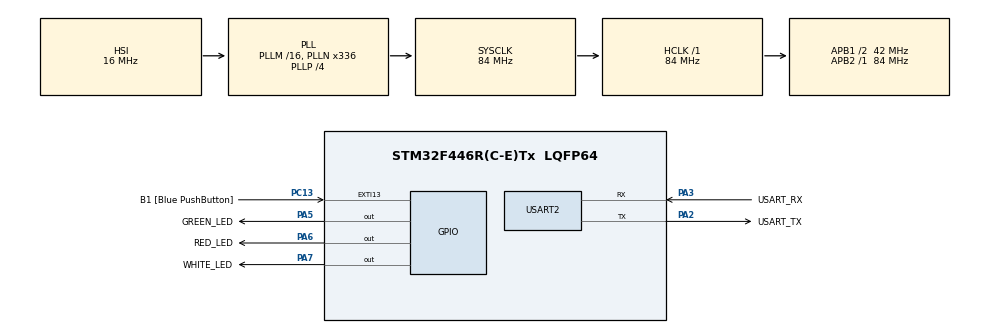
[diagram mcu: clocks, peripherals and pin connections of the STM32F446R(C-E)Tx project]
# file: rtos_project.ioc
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Mcu.Family=STM32F4
Mcu.Name=STM32F446R(C-E)Tx
Mcu.Package=LQFP64
NVIC.PriorityGroup=NVIC_PRIORITYGROUP_4
NVIC.TIM6_DAC_IRQn=true\:0\:0\:false\:false\:true\:false\:true\:true
NVIC.TimeBase=TIM6_DAC_IRQn
NVIC.TimeBaseIP=TIM6
PA13.GPIO_Label=TMS
PA13.Mode=Serial_Wire
PA13.Signal=SYS_JTMS-SWDIO
PA14.GPIO_Label=TCK
PA14.Mode=Serial_Wire
PA14.Signal=SYS_JTCK-SWCLK
PA2.GPIO_Label=USART_TX
PA2.Mode=Asynchronous
PA2.Signal=USART2_TX
PA3.GPIO_Label=USART_RX
PA3.Mode=Asynchronous
PA3.Signal=USART2_RX
PA5.GPIO_Label=GREEN_LED
PA5.Signal=GPIO_Output
PA6.GPIO_Label=RED_LED
PA6.Signal=GPIO_Output
PA7.GPIO_Label=WHITE_LED
PA7.Signal=GPIO_Output
PB3.GPIO_Label=SWO
PB3.Signal=SYS_JTDO-SWO
PC13.GPIO_Label=B1 [Blue PushButton]
PC13.GPIO_ModeDefaultEXTI=GPIO_MODE_IT_FALLING
PC13.Signal=GPXTI13
PC14-OSC32_IN.Mode=LSE-External-Oscillator
PC14-OSC32_IN.Signal=RCC_OSC32_IN
PC15-OSC32_OUT.Mode=LSE-External-Oscillator
PC15-OSC32_OUT.Signal=RCC_OSC32_OUT
PH0-OSC_IN.Mode=HSE-External-Oscillator
PH0-OSC_IN.Signal=RCC_OSC_IN
PH1-OSC_OUT.Mode=HSE-External-Oscillator
PH1-OSC_OUT.Signal=RCC_OSC_OUT
ProjectManager.HeapSize=0x200
ProjectManager.StackSize=0x400
ProjectManager.TargetToolchain=STM32CubeIDE
RCC.48MHZClocksFreq_Value=84000000
RCC.AHBFreq_Value=84000000
RCC.APB1CLKDivider=RCC_HCLK_DIV2
RCC.APB1Freq_Value=42000000
RCC.APB1TimFreq_Value=84000000
RCC.APB2Freq_Value=84000000
RCC.APB2TimFreq_Value=84000000
RCC.CortexFreq_Value=84000000
RCC.FLatency-AdvancedSettings=FLASH_LATENCY_2
RCC.HCLKFreq_Value=84000000
RCC.HSE_VALUE=8000000
RCC.HSI_VALUE=16000000
RCC.PLLN=336
RCC.PLLP=RCC_PLLP_DIV4
RCC.SYSCLKFreq_VALUE=84000000
RCC.SYSCLKSource=RCC_SYSCLKSOURCE_PLLCLK
RCC.USBFreq_Value=168000000
RCC.VCOOutputFreq_Value=336000000
USART2.VirtualMode=VM_ASYNC
VP_SYS_VS_tim6.Mode=TIM6
board=NUCLEO-F446RE

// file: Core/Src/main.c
/* USER CODE BEGIN Header */
/**
  ******************************************************************************
  * @file           : main.c
  * @brief          : Main program body
  ******************************************************************************
  * @attention
  *
  * Copyright (c) 2026 STMicroelectronics.
  * All rights reserved.
  *
  * This software is licensed under terms that can be found in the LICENSE file
  * in the root directory of this software component.
  * If no LICENSE file comes with this software, it is provided AS-IS.
  *
  ******************************************************************************
  */
/* USER CODE END Header */
#include "main.h"

/* USER CODE BEGIN Includes */
#include <stdio.h>
#include "FreeRTOS.h"
#include "task.h"
/* USER CODE END Includes */

UART_HandleTypeDef huart2;

void SystemClock_Config(void);
static void MX_GPIO_Init(void);
static void MX_USART2_UART_Init(void);
/* USER CODE BEGIN PFP */
//static void task1_handler( void * pvParameters);
//static void task2_handler( void * pvParameters);

//LED
static void led_green_handler( void * pvParameters);
static void led_red_handler( void * pvParameters);
static void led_white_handler( void * pvParameters);

/* USER CODE END PFP */

int main(void)
{

  /* USER CODE BEGIN 1 */

	TaskHandle_t task1_handle;
	TaskHandle_t task2_handle;
	TaskHandle_t task3_handle;

	BaseType_t xReturned;

  /* USER CODE END 1 */

  /* MCU Configuration--------------------------------------------------------*/

  /* Reset of all peripherals, Initializes the Flash interface and the Systick. */
  HAL_Init();

  /* Configure the system clock */
  SystemClock_Config();

  /* Initialize all configured peripherals */
  MX_GPIO_Init();
  MX_USART2_UART_Init();
  /* USER CODE BEGIN 2 */
  xReturned = xTaskCreate(
		  	  	  	  led_green_handler,       /* Function that implements the task. */
                     "GREEN LED TASK",          /* Text name for the task. */
                     100,      /* Stack size in words, not bytes. */
                     "NULL",    /* Parameter passed into the task. */
                     2,/* Priority at which the task is created. */
                     &task1_handle );      /* Used to pass out the created task's handle. */

configASSERT(xReturned == pdPASS);

xReturned = xTaskCreate(
					led_red_handler,       /* Function that implements the task. */
                   "RED LED TASK",          /* Text name for the task. */
                   100,      /* Stack size in words, not bytes. */
                   "NULL",    /* Parameter passed into the task. */
                   2,/* Priority at which the task is created. */
                   &task2_handle );      /* Used to pass out the created task's handle. */

configASSERT(xReturned == pdPASS);

xReturned = xTaskCreate(
					led_white_handler,       /* Function that implements the task. */
                   "WHITE LED TASK",          /* Text name for the task. */
                   100,      /* Stack size in words, not bytes. */
                   "NULL",    /* Parameter passed into the task. */
                   2,/* Priority at which the task is created. */
                   &task3_handle );      /* Used to pass out the created task's handle. */

configASSERT(xReturned == pdPASS);

vTaskStartScheduler();

  /* USER CODE END 2 */

  /* Infinite loop */
  while (1)
  {

  }
}

void SystemClock_Config(void)
{
  RCC_OscInitTypeDef RCC_OscInitStruct = {0};
  RCC_ClkInitTypeDef RCC_ClkInitStruct = {0};

  /** Configure the main internal regulator output voltage
  */
  __HAL_RCC_PWR_CLK_ENABLE();
  __HAL_PWR_VOLTAGESCALING_CONFIG(PWR_REGULATOR_VOLTAGE_SCALE3);

  /** Initializes the RCC Oscillators according to the specified parameters
  * in the RCC_OscInitTypeDef structure.
  */
  RCC_OscInitStruct.OscillatorType = RCC_OSCILLATORTYPE_HSI;
  RCC_OscInitStruct.HSIState = RCC_HSI_ON;
  RCC_OscInitStruct.HSICalibrationValue = RCC_HSICALIBRATION_DEFAULT;
  RCC_OscInitStruct.PLL.PLLState = RCC_PLL_ON;
  RCC_OscInitStruct.PLL.PLLSource = RCC_PLLSOURCE_HSI;
  RCC_OscInitStruct.PLL.PLLM = 16;
  RCC_OscInitStruct.PLL.PLLN = 336;
  RCC_OscInitStruct.PLL.PLLP = RCC_PLLP_DIV4;
  RCC_OscInitStruct.PLL.PLLQ = 2;
  RCC_OscInitStruct.PLL.PLLR = 2;
  if (HAL_RCC_OscConfig(&RCC_OscInitStruct) != HAL_OK)
  {
    Error_Handler();
  }

  /** Initializes the CPU, AHB and APB buses clocks
  */
  RCC_ClkInitStruct.ClockType = RCC_CLOCKTYPE_HCLK|RCC_CLOCKTYPE_SYSCLK
                              |RCC_CLOCKTYPE_PCLK1|RCC_CLOCKTYPE_PCLK2;
  RCC_ClkInitStruct.SYSCLKSource = RCC_SYSCLKSOURCE_PLLCLK;
  RCC_ClkInitStruct.AHBCLKDivider = RCC_SYSCLK_DIV1;
  RCC_ClkInitStruct.APB1CLKDivider = RCC_HCLK_DIV2;
  RCC_ClkInitStruct.APB2CLKDivider = RCC_HCLK_DIV1;

  if (HAL_RCC_ClockConfig(&RCC_ClkInitStruct, FLASH_LATENCY_2) != HAL_OK)
  {
    Error_Handler();
  }
}

static void MX_USART2_UART_Init(void)
{

  huart2.Instance = USART2;
  huart2.Init.BaudRate = 115200;
  huart2.Init.WordLength = UART_WORDLENGTH_8B;
  huart2.Init.StopBits = UART_STOPBITS_1;
  huart2.Init.Parity = UART_PARITY_NONE;
  huart2.Init.Mode = UART_MODE_TX_RX;
  huart2.Init.HwFlowCtl = UART_HWCONTROL_NONE;
  huart2.Init.OverSampling = UART_OVERSAMPLING_16;
  if (HAL_UART_Init(&huart2) != HAL_OK)
  {
    Error_Handler();
  }

}

static void MX_GPIO_Init(void)
{
  GPIO_InitTypeDef GPIO_InitStruct = {0};

  /* GPIO Ports Clock Enable */
  __HAL_RCC_GPIOC_CLK_ENABLE();
  __HAL_RCC_GPIOH_CLK_ENABLE();
  __HAL_RCC_GPIOA_CLK_ENABLE();
  __HAL_RCC_GPIOB_CLK_ENABLE();

  /*Configure GPIO pin Output Level */
  HAL_GPIO_WritePin(GPIOA, GREEN_LED_Pin|RED_LED_Pin|WHITE_LED_Pin, GPIO_PIN_RESET);

  /*Configure GPIO pin : B1_Pin */
  GPIO_InitStruct.Pin = B1_Pin;
  GPIO_InitStruct.Mode = GPIO_MODE_IT_FALLING;
  GPIO_InitStruct.Pull = GPIO_NOPULL;
  HAL_GPIO_Init(B1_GPIO_Port, &GPIO_InitStruct);

  /*Configure GPIO pins : GREEN_LED_Pin RED_LED_Pin WHITE_LED_Pin */
  GPIO_InitStruct.Pin = GREEN_LED_Pin|RED_LED_Pin|WHITE_LED_Pin;
  GPIO_InitStruct.Mode = GPIO_MODE_OUTPUT_PP;
  GPIO_InitStruct.Pull = GPIO_NOPULL;
  GPIO_InitStruct.Speed = GPIO_SPEED_FREQ_LOW;
  HAL_GPIO_Init(GPIOA, &GPIO_InitStruct);

}

/* USER CODE BEGIN 4 */
static void led_green_handler( void * pvParameters)
{
	while(1)
	{
	printf("task1\n");
	HAL_GPIO_TogglePin(GREEN_LED_GPIO_Port, GREEN_LED_Pin);
	HAL_Delay(1000);
	taskYIELD();
	}
}

static void led_red_handler( void * pvParameters)
{
	while(1)
	{
	printf("task2\n");
	HAL_GPIO_TogglePin(RED_LED_GPIO_Port, RED_LED_Pin);
	HAL_Delay(800);
	taskYIELD();
	}
}
static void led_white_handler( void * pvParameters)
{
	while(1)
	{
	printf("task3\n");
	HAL_GPIO_TogglePin(WHITE_LED_GPIO_Port, WHITE_LED_Pin);
	HAL_Delay(400);
	taskYIELD();
	}
}

/* USER CODE END 4 */

void HAL_TIM_PeriodElapsedCallback(TIM_HandleTypeDef *htim)
{
  if (htim->Instance == TIM6)
  {
    HAL_IncTick();
  }
}

void Error_Handler(void)
{
  __disable_irq();
  while (1)
  {
  }
}
